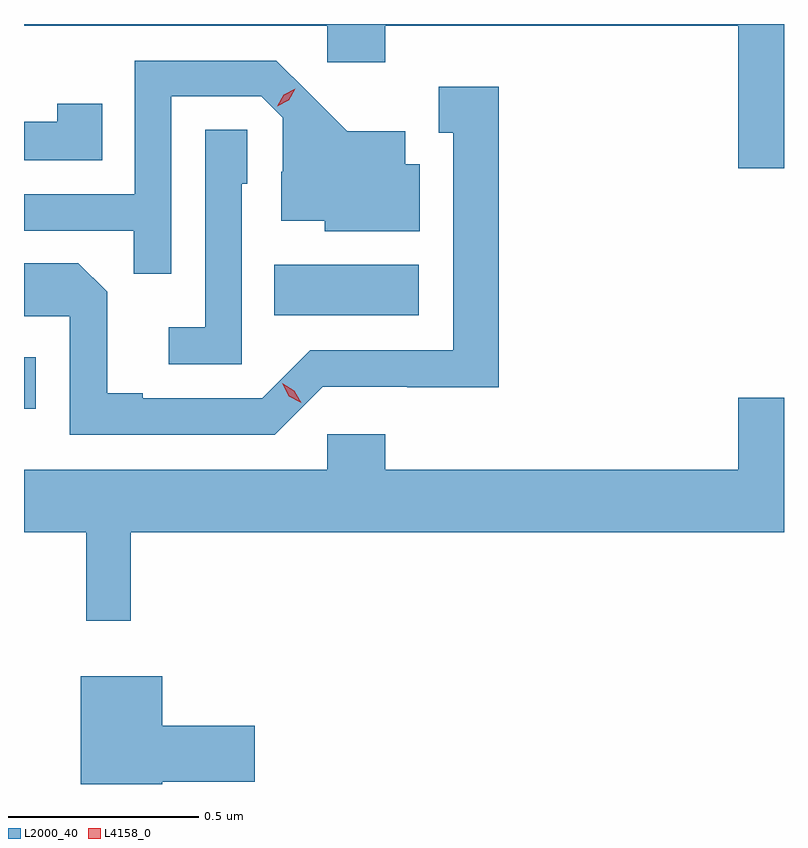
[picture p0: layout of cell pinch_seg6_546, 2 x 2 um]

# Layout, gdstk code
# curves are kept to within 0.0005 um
import gdstk
lib = gdstk.Library(unit=1e-6, precision=1e-09)
def R(c, l, rs):  # rectangles x0, y0, x1, y1
    for r in rs: c.add(gdstk.rectangle(r[:2], r[2:], *l))
def P(c, l, *ps):  # polygons
    for p in ps: c.add(gdstk.Polygon(p, *l))
L2000_40 = (2000, 40)
L4158_0 = (4158, 0)

pinch_seg6_546 = lib.new_cell('pinch_seg6_546')
R(pinch_seg6_546, L2000_40, [(774.516,947.66,774.547,947.796), (775.174,947.906,775.555,948.04)])
P(pinch_seg6_546, L2000_40, [(776.516,948.673),(774.516,948.673),(774.516,948.668),(775.314,948.668),(775.314,948.573),(775.466,948.573),(775.466,948.668),(776.396,948.668),(776.396,948.294),(776.516,948.294)],
  [(774.903,948.483),(775.14,948.483),(775.197,948.426),(775.197,948.284),(775.193,948.284),(775.193,948.155),(775.308,948.155),(775.308,948.128),(775.558,948.128),(775.558,948.304),(775.519,948.304),(775.519,948.391),(775.367,948.391),(775.18,948.576),(774.807,948.576),(774.807,948.225),(774.516,948.225),(774.516,948.129),(774.805,948.129),(774.805,948.016),(774.903,948.016)],
  [(775.302,947.718),(775.524,947.718),(775.524,947.717),(775.765,947.717),(775.765,948.508),(775.607,948.508),(775.607,948.387),(775.646,948.387),(775.646,947.814),(775.269,947.814),(775.143,947.688),(774.829,947.688),(774.829,947.701),(774.735,947.701),(774.735,947.968),(774.659,948.044),(774.516,948.044),(774.516,947.904),(774.636,947.904),(774.636,947.592),(775.176,947.592)],
  [(774.722,948.463),(774.604,948.463),(774.604,948.416),(774.516,948.416),(774.516,948.315),(774.722,948.315)],
  [(775.089,948.252),(775.104,948.252),(775.104,948.395),(774.993,948.395),(774.993,947.875),(774.897,947.875),(774.897,947.778),(775.089,947.778)],
  [(774.797,947.336),(776.516,947.336),(776.516,947.689),(776.396,947.689),(776.396,947.5),(775.466,947.5),(775.466,947.593),(775.314,947.593),(775.314,947.5),(774.516,947.5),(774.516,947.336),(774.68,947.336),(774.68,947.103),(774.797,947.103)],
  [(774.88,946.679),(775.123,946.679),(775.123,946.826),(774.88,946.826),(774.88,946.957),(774.665,946.957),(774.665,946.673),(774.88,946.673)])
P(pinch_seg6_546, L4158_0, [(775.182,948.457),(775.182,948.457),(775.199,948.487),(775.23,948.503),(775.23,948.503),(775.23,948.502),(775.213,948.473),(775.183,948.457)],
  [(775.245,947.676),(775.213,947.694),(775.195,947.727),(775.195,947.727),(775.196,947.727),(775.227,947.708),(775.245,947.676),(775.245,947.676)])

lib.write_gds('pinch_seg6_546.gds')
